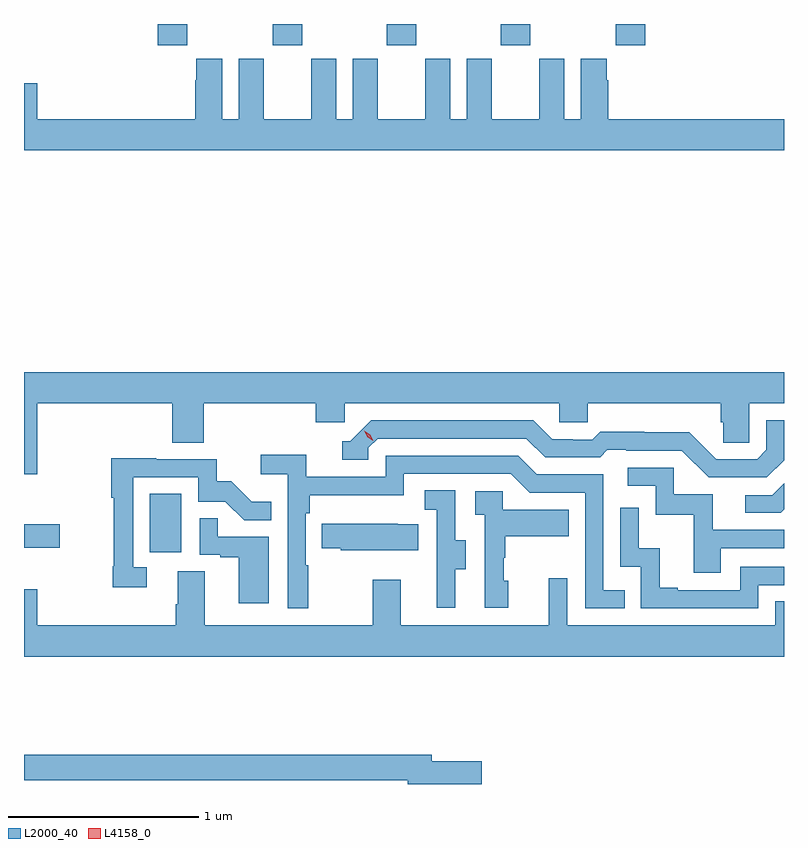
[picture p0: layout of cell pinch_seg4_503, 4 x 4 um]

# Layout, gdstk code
import gdstk
lib = gdstk.Library(unit=1e-6, precision=1e-09)
def R(c, l, rs):  # rectangles x0, y0, x1, y1
    for r in rs: c.add(gdstk.rectangle(r[:2], r[2:], *l))
def A(c, l, x, y, w, h, nx, ny, dx, dy):  # array of equal rectangles
    R(c, l, [(x+i*dx, y+j*dy, x+i*dx+w, y+j*dy+h) for i in range(nx) for j in range(ny)])
def P(c, l, *ps):  # polygons
    for p in ps: c.add(gdstk.Polygon(p, *l))
L2000_40 = (2000, 40)
L4158_0 = (4158, 0)

pinch_seg4_503 = lib.new_cell('pinch_seg4_503')
A(pinch_seg4_503, L2000_40, 993.583, 756.081, 0.155, 0.112, 3, 1, 0.6, 0)
R(pinch_seg4_503, L2000_40, [(992.936,753.414,993.1,753.721), (992.273,753.437,992.461,753.559), (992.978,756.081,993.133,756.193), (995.387,756.081,995.543,756.193)])
P(pinch_seg4_503, L2000_40, [(993.785,756.01),(993.785,755.692),(993.535,755.692),(993.535,756.01),(993.404,756.01),(993.404,755.692),(993.316,755.692),(993.316,756.01),(993.179,756.01),(993.179,755.897),(993.173,755.897),(993.173,755.692),(992.344,755.692),(992.344,755.881),(992.273,755.881),(992.273,755.528),(996.273,755.528),(996.273,755.692),(995.348,755.692),(995.348,755.897),(995.341,755.897),(995.341,756.01),(995.204,756.01),(995.204,755.692),(995.116,755.692),(995.116,756.01),(994.985,756.01),(994.985,755.692),(994.735,755.692),(994.735,756.01),(994.604,756.01),(994.604,755.692),(994.516,755.692),(994.516,756.01),(994.385,756.01),(994.385,755.692),(994.135,755.692),(994.135,756.01),(994.004,756.01),(994.004,755.692),(993.916,755.692),(993.916,756.01)],
  [(992.344,754.196),(993.053,754.196),(993.053,753.988),(993.218,753.988),(993.218,754.196),(993.809,754.196),(993.809,754.098),(993.96,754.098),(993.96,754.196),(995.091,754.196),(995.091,754.098),(995.241,754.098),(995.241,754.196),(995.939,754.196),(995.939,754.098),(995.953,754.098),(995.953,753.988),(996.09,753.988),(996.09,754.196),(996.273,754.196),(996.273,754.36),(992.273,754.36),(992.273,753.822),(992.344,753.822)],
  [(996.273,753.897),(996.273,754.107),(996.18,754.107),(996.18,753.951),(996.132,753.903),(995.916,753.903),(995.774,754.045),(995.538,754.045),(995.538,754.048),(995.305,754.048),(995.263,754.005),(995.16,754.005),(995.16,754.008),(995.053,754.008),(994.954,754.107),(994.101,754.107),(993.99,753.996),(993.947,753.996),(993.947,753.9),(994.086,753.9),(994.086,753.963),(994.134,754.011),(994.917,754.011),(995.016,753.912),(995.305,753.912),(995.344,753.951),(995.443,753.951),(995.443,753.948),(995.736,753.948),(995.877,753.807),(996.183,753.807)],
  [(993.769,753.344),(993.756,753.344),(993.756,753.617),(993.776,753.617),(993.776,753.713),(994.272,753.713),(994.272,753.825),(994.836,753.825),(994.935,753.726),(995.226,753.726),(995.226,753.117),(995.435,753.117),(995.435,753.213),(995.322,753.213),(995.322,753.822),(994.972,753.822),(994.873,753.921),(994.176,753.921),(994.176,753.81),(993.758,753.81),(993.758,753.926),(993.519,753.926),(993.519,753.824),(993.66,753.824),(993.66,753.117),(993.769,753.117)],
  [(992.92,753.333),(992.847,753.333),(992.847,753.807),(993.189,753.807),(993.189,753.678),(993.333,753.678),(993.431,753.58),(993.575,753.58),(993.575,753.679),(993.471,753.679),(993.364,753.786),(993.288,753.786),(993.288,753.903),(992.969,753.903),(992.969,753.908),(992.731,753.908),(992.731,753.7),(992.746,753.7),(992.746,753.34),(992.739,753.34),(992.739,753.228),(992.92,753.228)],
  [(995.941,753.435),(996.273,753.435),(996.273,753.531),(995.899,753.531),(995.899,753.717),(995.694,753.717),(995.694,753.858),(995.451,753.858),(995.451,753.762),(995.598,753.762),(995.598,753.609),(995.797,753.609),(995.797,753.306),(995.941,753.306)],
  [(996.273,753.638),(996.273,753.777),(996.21,753.714),(996.069,753.714),(996.069,753.621),(996.256,753.621)],
  [(994.543,753.322),(994.597,753.322),(994.597,753.477),(994.542,753.477),(994.542,753.74),(994.383,753.74),(994.383,753.637),(994.446,753.637),(994.446,753.333),(994.445,753.333),(994.445,753.12),(994.543,753.12)],
  [(994.822,753.264),(994.797,753.264),(994.797,753.383),(994.807,753.383),(994.807,753.497),(995.141,753.497),(995.141,753.637),(994.794,753.637),(994.794,753.735),(994.647,753.735),(994.647,753.611),(994.698,753.611),(994.698,753.12),(994.822,753.12)],
  [(996.138,753.24),(996.273,753.24),(996.273,753.336),(996.042,753.336),(996.042,753.213),(995.713,753.213),(995.713,753.226),(995.618,753.226),(995.618,753.434),(995.508,753.434),(995.508,753.646),(995.412,753.646),(995.412,753.336),(995.52,753.336),(995.52,753.117),(996.138,753.117)],
  [(993.562,753.495),(993.293,753.495),(993.293,753.593),(993.198,753.593),(993.198,753.399),(993.305,753.399),(993.305,753.387),(993.404,753.387),(993.404,753.144),(993.562,753.144)],
  [(994.349,753.559),(994.241,753.559),(994.241,753.562),(993.841,753.562),(993.841,753.433),(993.939,753.433),(993.939,753.422),(994.349,753.422)],
  [(996.273,753.155),(996.228,753.155),(996.228,753.028),(995.133,753.028),(995.133,753.277),(995.036,753.277),(995.036,753.028),(994.255,753.028),(994.255,753.268),(994.108,753.268),(994.108,753.028),(993.223,753.028),(993.223,753.314),(993.083,753.314),(993.083,753.14),(993.071,753.14),(993.071,753.028),(992.344,753.028),(992.344,753.217),(992.273,753.217),(992.273,752.864),(996.273,752.864)],
  [(994.681,752.312),(994.42,752.312),(994.42,752.348),(992.273,752.348),(992.273,752.212),(994.292,752.212),(994.292,752.193),(994.681,752.193)])
P(pinch_seg4_503, L4158_0, [(994.112,753.999),(994.081,754.018),(994.065,754.051),(994.065,754.051),(994.065,754.051),(994.096,754.032),(994.112,753.999),(994.112,753.999)])

lib.write_gds('pinch_seg4_503.gds')
